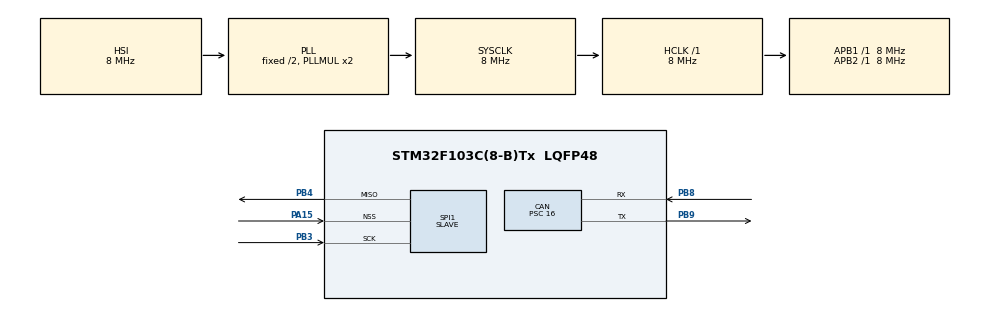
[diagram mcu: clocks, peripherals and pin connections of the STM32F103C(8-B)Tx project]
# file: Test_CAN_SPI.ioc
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CAN.BS1=CAN_BS1_2TQ
CAN.CalculateBaudRate=125000
CAN.CalculateTimeBit=8000
CAN.CalculateTimeQuantum=2000.0
CAN.Mode=CAN_MODE_LOOPBACK
CAN.Prescaler=16
Dma.Request0=SPI1_TX
Dma.SPI1_TX.0.Direction=DMA_MEMORY_TO_PERIPH
Dma.SPI1_TX.0.Instance=DMA1_Channel3
Dma.SPI1_TX.0.MemDataAlignment=DMA_MDATAALIGN_HALFWORD
Dma.SPI1_TX.0.MemInc=DMA_MINC_ENABLE
Dma.SPI1_TX.0.Mode=DMA_CIRCULAR
Dma.SPI1_TX.0.PeriphDataAlignment=DMA_PDATAALIGN_HALFWORD
Dma.SPI1_TX.0.PeriphInc=DMA_PINC_DISABLE
Dma.SPI1_TX.0.Priority=DMA_PRIORITY_LOW
Mcu.Family=STM32F1
Mcu.Name=STM32F103C(8-B)Tx
Mcu.Package=LQFP48
NVIC.CAN1_RX1_IRQn=true\:0\:0\:false\:false\:true\:true\:true\:true
NVIC.DMA1_Channel3_IRQn=true\:0\:0\:false\:false\:true\:false\:true\:true
NVIC.PriorityGroup=NVIC_PRIORITYGROUP_4
PA13.Mode=Serial_Wire
PA13.Signal=SYS_JTMS-SWDIO
PA14.Mode=Serial_Wire
PA14.Signal=SYS_JTCK-SWCLK
PA15.Mode=NSS_Signal_Hard_Input
PA15.Signal=SPI1_NSS
PB12.Signal=SPI2_NSS
PB13.Signal=SPI2_SCK
PB14.Signal=SPI2_MISO
PB15.Signal=SPI2_MOSI
PB3.Mode=TX_Only_Simplex_Unidirect_Slave
PB3.Signal=SPI1_SCK
PB4.Mode=TX_Only_Simplex_Unidirect_Slave
PB4.Signal=SPI1_MISO
PB5.Signal=SPI1_MOSI
PB8.Mode=CAN_Activate
PB8.Signal=CAN_RX
PB9.Mode=CAN_Activate
PB9.Signal=CAN_TX
PD0-OSC_IN.Mode=HSE-External-Oscillator
PD0-OSC_IN.Signal=RCC_OSC_IN
PD1-OSC_OUT.Mode=HSE-External-Oscillator
PD1-OSC_OUT.Signal=RCC_OSC_OUT
ProjectManager.HeapSize=0x200
ProjectManager.StackSize=0x400
ProjectManager.TargetToolchain=STM32CubeIDE
RCC.AHBFreq_Value=8000000
RCC.APB1Freq_Value=8000000
RCC.APB1TimCLKDivider=1
RCC.APB1TimFreq_Value=8000000
RCC.APB2Freq_Value=8000000
RCC.APB2TimFreq_Value=8000000
RCC.HCLKFreq_Value=8000000
RCC.SYSCLKFreq_VALUE=8000000
RCC.SYSCLKSource=RCC_SYSCLKSOURCE_PLLCLK
RCC.USBFreq_Value=8000000
SPI1.CLKPhase=SPI_PHASE_2EDGE
SPI1.DataSize=SPI_DATASIZE_16BIT
SPI1.Direction=SPI_DIRECTION_2LINES
SPI1.Mode=SPI_MODE_SLAVE
SPI1.VirtualNSS=VM_NSSHARD
SPI1.VirtualType=VM_SLAVE
board=custom

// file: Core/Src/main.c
/* USER CODE BEGIN Header */
/**
  ******************************************************************************
  * @file           : main.c
  * @brief          : Main program body
  ******************************************************************************
  * @attention
  *
  * Copyright (c) 2025 STMicroelectronics.
  * All rights reserved.
  *
  * This software is licensed under terms that can be found in the LICENSE file
  * in the root directory of this software component.
  * If no LICENSE file comes with this software, it is provided AS-IS.
  *
  ******************************************************************************
  */
/* USER CODE END Header */
#include "main.h"

/* USER CODE BEGIN PD */
uint16_t spi_data = 0;
CAN_TxHeaderTypeDef TxHeader;
CAN_RxHeaderTypeDef RxHeader;
CAN_FilterTypeDef CANFilter;
uint32_t txMail = 0;
uint32_t res = 0;
/* USER CODE END PD */

CAN_HandleTypeDef hcan;

SPI_HandleTypeDef hspi1;
DMA_HandleTypeDef hdma_spi1_tx;

void SystemClock_Config(void);
static void MX_GPIO_Init(void);
static void MX_DMA_Init(void);
static void MX_CAN_Init(void);
static void MX_SPI1_Init(void);

int main(void)
{

  /* MCU Configuration--------------------------------------------------------*/

  /* Reset of all peripherals, Initializes the Flash interface and the Systick. */
  HAL_Init();

  /* Configure the system clock */
  SystemClock_Config();

  /* Initialize all configured peripherals */
  MX_GPIO_Init();
  MX_DMA_Init();
  MX_CAN_Init();
  MX_SPI1_Init();
  /* USER CODE BEGIN 2 */

  HAL_SPI_Transmit_DMA(&hspi1, &spi_data, 1);
  /* USER CODE END 2 */

  /* Infinite loop */
  while (1)
  {

    /* USER CODE BEGIN 3 */
	  if (!HAL_CAN_IsTxMessagePending(&hcan, CAN_TX_MAILBOX0))
	  {
		  HAL_CAN_AddTxMessage(&hcan, &TxHeader, &spi_data, &txMail);
	  }
	  else
	  {
		  res = HAL_CAN_GetError(&hcan);
	  }
  }
  /* USER CODE END 3 */
}

void SystemClock_Config(void)
{
  RCC_OscInitTypeDef RCC_OscInitStruct = {0};
  RCC_ClkInitTypeDef RCC_ClkInitStruct = {0};

  /** Initializes the RCC Oscillators according to the specified parameters
  * in the RCC_OscInitTypeDef structure.
  */
  RCC_OscInitStruct.OscillatorType = RCC_OSCILLATORTYPE_HSI;
  RCC_OscInitStruct.HSIState = RCC_HSI_ON;
  RCC_OscInitStruct.HSICalibrationValue = RCC_HSICALIBRATION_DEFAULT;
  RCC_OscInitStruct.PLL.PLLState = RCC_PLL_ON;
  RCC_OscInitStruct.PLL.PLLSource = RCC_PLLSOURCE_HSI_DIV2;
  RCC_OscInitStruct.PLL.PLLMUL = RCC_PLL_MUL2;
  if (HAL_RCC_OscConfig(&RCC_OscInitStruct) != HAL_OK)
  {
    Error_Handler();
  }

  /** Initializes the CPU, AHB and APB buses clocks
  */
  RCC_ClkInitStruct.ClockType = RCC_CLOCKTYPE_HCLK|RCC_CLOCKTYPE_SYSCLK
                              |RCC_CLOCKTYPE_PCLK1|RCC_CLOCKTYPE_PCLK2;
  RCC_ClkInitStruct.SYSCLKSource = RCC_SYSCLKSOURCE_PLLCLK;
  RCC_ClkInitStruct.AHBCLKDivider = RCC_SYSCLK_DIV1;
  RCC_ClkInitStruct.APB1CLKDivider = RCC_HCLK_DIV1;
  RCC_ClkInitStruct.APB2CLKDivider = RCC_HCLK_DIV1;

  if (HAL_RCC_ClockConfig(&RCC_ClkInitStruct, FLASH_LATENCY_0) != HAL_OK)
  {
    Error_Handler();
  }
}

static void MX_CAN_Init(void)
{

  /* USER CODE BEGIN CAN_Init 0 */
	TxHeader.DLC = 2;  // data length
	TxHeader.IDE = CAN_ID_STD;
	TxHeader.RTR = CAN_RTR_DATA;
	TxHeader.StdId = 0x6A5;
  /* USER CODE END CAN_Init 0 */

  /* USER CODE BEGIN CAN_Init 1 */
	CANFilter.FilterActivation = CAN_FILTER_ENABLE;
	CANFilter.FilterFIFOAssignment = CAN_FILTER_FIFO1;
	CANFilter.FilterMode = CAN_FILTERMODE_IDMASK;
	CANFilter.FilterIdHigh = 0x6A5<<5;
	CANFilter.FilterIdLow = 0;
	CANFilter.FilterMaskIdHigh = 0x7FF<<5; // SET 0 to unfilter
	CANFilter.FilterMaskIdLow = 0;
	CANFilter.FilterScale = CAN_FILTERSCALE_32BIT;
  /* USER CODE END CAN_Init 1 */
  hcan.Instance = CAN1;
  hcan.Init.Prescaler = 16;
  hcan.Init.Mode = CAN_MODE_LOOPBACK;
  hcan.Init.SyncJumpWidth = CAN_SJW_1TQ;
  hcan.Init.TimeSeg1 = CAN_BS1_2TQ;
  hcan.Init.TimeSeg2 = CAN_BS2_1TQ;
  hcan.Init.TimeTriggeredMode = DISABLE;
  hcan.Init.AutoBusOff = DISABLE;
  hcan.Init.AutoWakeUp = DISABLE;
  hcan.Init.AutoRetransmission = DISABLE;
  hcan.Init.ReceiveFifoLocked = DISABLE;
  hcan.Init.TransmitFifoPriority = DISABLE;
  if (HAL_CAN_Init(&hcan) != HAL_OK)
  {
    Error_Handler();
  }
  /* USER CODE BEGIN CAN_Init 2 */
  HAL_CAN_Start(&hcan);
  HAL_CAN_ConfigFilter(&hcan, &CANFilter);
    // Activate the notification
  HAL_CAN_ActivateNotification(&hcan, CAN_IT_RX_FIFO1_MSG_PENDING);
  /* USER CODE END CAN_Init 2 */

}

static void MX_SPI1_Init(void)
{

  /* SPI1 parameter configuration*/
  hspi1.Instance = SPI1;
  hspi1.Init.Mode = SPI_MODE_SLAVE;
  hspi1.Init.Direction = SPI_DIRECTION_2LINES;
  hspi1.Init.DataSize = SPI_DATASIZE_16BIT;
  hspi1.Init.CLKPolarity = SPI_POLARITY_LOW;
  hspi1.Init.CLKPhase = SPI_PHASE_2EDGE;
  hspi1.Init.NSS = SPI_NSS_HARD_INPUT;
  hspi1.Init.FirstBit = SPI_FIRSTBIT_MSB;
  hspi1.Init.TIMode = SPI_TIMODE_DISABLE;
  hspi1.Init.CRCCalculation = SPI_CRCCALCULATION_DISABLE;
  hspi1.Init.CRCPolynomial = 10;
  if (HAL_SPI_Init(&hspi1) != HAL_OK)
  {
    Error_Handler();
  }

}

static void MX_DMA_Init(void)
{

  /* DMA controller clock enable */
  __HAL_RCC_DMA1_CLK_ENABLE();

  /* DMA interrupt init */
  /* DMA1_Channel3_IRQn interrupt configuration */
  HAL_NVIC_SetPriority(DMA1_Channel3_IRQn, 0, 0);
  HAL_NVIC_EnableIRQ(DMA1_Channel3_IRQn);

}

static void MX_GPIO_Init(void)
{
  GPIO_InitTypeDef GPIO_InitStruct = {0};

  /* GPIO Ports Clock Enable */
  __HAL_RCC_GPIOD_CLK_ENABLE();
  __HAL_RCC_GPIOB_CLK_ENABLE();
  __HAL_RCC_GPIOA_CLK_ENABLE();

  /*Configure GPIO pins : PB12 PB13 PB14 PB15 */
  GPIO_InitStruct.Pin = GPIO_PIN_12|GPIO_PIN_13|GPIO_PIN_14|GPIO_PIN_15;
  GPIO_InitStruct.Mode = GPIO_MODE_AF_PP;
  GPIO_InitStruct.Speed = GPIO_SPEED_FREQ_HIGH;
  HAL_GPIO_Init(GPIOB, &GPIO_InitStruct);

}

/* USER CODE BEGIN 4 */
void HAL_CAN_RxFifo1MsgPendingCallback(CAN_HandleTypeDef *hcan)
{

	static uint16_t data = 0;
	HAL_CAN_GetRxMessage(hcan, CAN_RX_FIFO1, &RxHeader, &data);
	HAL_CAN_AddTxMessage(&hcan, &TxHeader, &spi_data, &txMail);
}

void HAL_SPI_TxCpltCallback(SPI_HandleTypeDef *hspi)
{
	spi_data++;

}
/* USER CODE END 4 */

void Error_Handler(void)
{
  __disable_irq();
  while (1)
  {
  }
}
